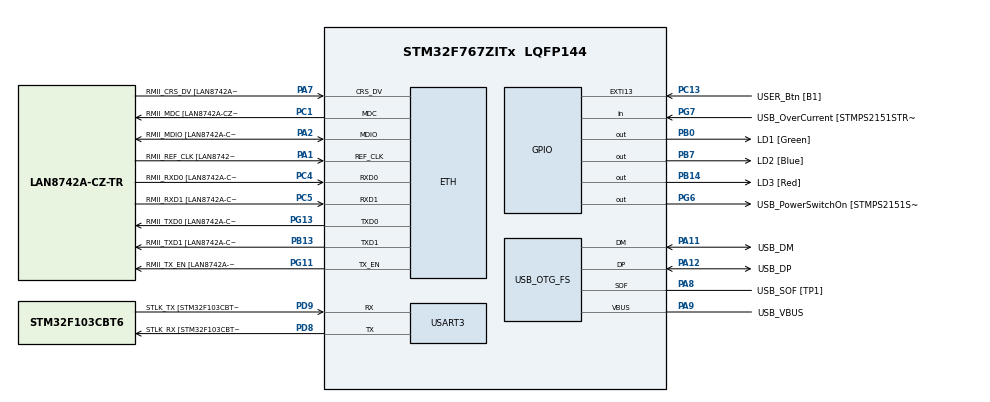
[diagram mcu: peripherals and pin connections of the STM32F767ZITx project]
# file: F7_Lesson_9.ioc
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ETH.MediaInterface=HAL_ETH_RMII_MODE
ETH.PHY_Name=LAN8742A_PHY_ADDRESS
ETH.PHY_Value=0
ETH.PhyAddress=0
Mcu.Family=STM32F7
Mcu.Name=STM32F767ZITx
Mcu.Package=LQFP144
NVIC.PriorityGroup=NVIC_PRIORITYGROUP_4
PA1.GPIO_Label=RMII_REF_CLK [LAN8742A-CZ-TR_REFCLK0]
PA1.Mode=RMII
PA1.Signal=ETH_REF_CLK
PA10.GPIO_Label=USB_ID
PA10.Signal=USB_OTG_FS_ID
PA11.GPIO_Label=USB_DM
PA11.Mode=Device_Only
PA11.Signal=USB_OTG_FS_DM
PA12.GPIO_Label=USB_DP
PA12.Mode=Device_Only
PA12.Signal=USB_OTG_FS_DP
PA13.GPIO_Label=TMS
PA13.Mode=Serial_Wire
PA13.Signal=SYS_JTMS-SWDIO
PA14.GPIO_Label=TCK
PA14.Mode=Serial_Wire
PA14.Signal=SYS_JTCK-SWCLK
PA2.GPIO_Label=RMII_MDIO [LAN8742A-CZ-TR_MDIO]
PA2.Mode=RMII
PA2.Signal=ETH_MDIO
PA7.GPIO_Label=RMII_CRS_DV [LAN8742A-CZ-TR_CRS_DV]
PA7.Mode=RMII
PA7.Signal=ETH_CRS_DV
PA8.GPIO_Label=USB_SOF [TP1]
PA8.Mode=Activate_SOF_FS
PA8.Signal=USB_OTG_FS_SOF
PA9.GPIO_Label=USB_VBUS
PA9.Mode=Activate_VBUS
PA9.Signal=USB_OTG_FS_VBUS
PB0.GPIO_Label=LD1 [Green]
PB0.Signal=GPIO_Output
PB13.GPIO_Label=RMII_TXD1 [LAN8742A-CZ-TR_TXD1]
PB13.Mode=RMII
PB13.Signal=ETH_TXD1
PB14.GPIO_Label=LD3 [Red]
PB14.Signal=GPIO_Output
PB3.GPIO_Label=SWO
PB3.Signal=SYS_JTDO-SWO
PB7.GPIO_Label=LD2 [Blue]
PB7.Signal=GPIO_Output
PC1.GPIO_Label=RMII_MDC [LAN8742A-CZ-TR_MDC]
PC1.Mode=RMII
PC1.Signal=ETH_MDC
PC13.GPIO_Label=USER_Btn [B1]
PC13.Signal=GPXTI13
PC14/OSC32_IN.Mode=LSE-External-Oscillator
PC14/OSC32_IN.Signal=RCC_OSC32_IN
PC15/OSC32_OUT.Mode=LSE-External-Oscillator
PC15/OSC32_OUT.Signal=RCC_OSC32_OUT
PC4.GPIO_Label=RMII_RXD0 [LAN8742A-CZ-TR_RXD0]
PC4.Mode=RMII
PC4.Signal=ETH_RXD0
PC5.GPIO_Label=RMII_RXD1 [LAN8742A-CZ-TR_RXD1]
PC5.Mode=RMII
PC5.Signal=ETH_RXD1
PD8.GPIO_Label=STLK_RX [STM32F103CBT6_PA3]
PD8.Mode=Asynchronous
PD8.Signal=USART3_TX
PD9.GPIO_Label=STLK_TX [STM32F103CBT6_PA2]
PD9.Mode=Asynchronous
PD9.Signal=USART3_RX
PG11.GPIO_Label=RMII_TX_EN [LAN8742A-CZ-TR_TXEN]
PG11.Mode=RMII
PG11.Signal=ETH_TX_EN
PG13.GPIO_Label=RMII_TXD0 [LAN8742A-CZ-TR_TXD0]
PG13.Mode=RMII
PG13.Signal=ETH_TXD0
PG6.GPIO_Label=USB_PowerSwitchOn [STMPS2151STR_EN]
PG6.Signal=GPIO_Output
PG7.GPIO_Label=USB_OverCurrent [STMPS2151STR_FAULT]
PG7.Signal=GPIO_Input
PH0/OSC_IN.GPIO_Label=MCO [STM32F103CBT6_PA8]
PH0/OSC_IN.Mode=HSE-External-Clock-Source
PH0/OSC_IN.Signal=RCC_OSC_IN
PH1/OSC_OUT.Mode=HSE-External-Clock-Source
PH1/OSC_OUT.Signal=RCC_OSC_OUT
ProjectManager.HeapSize=0x200
ProjectManager.StackSize=0x400
ProjectManager.TargetToolchain=STM32CubeIDE
RCC.48MHZClocksFreq_Value=24000000
RCC.AHBFreq_Value=96000000
RCC.APB1CLKDivider=RCC_HCLK_DIV2
RCC.APB1Freq_Value=48000000
RCC.APB1TimFreq_Value=96000000
RCC.APB2Freq_Value=96000000
RCC.APB2TimFreq_Value=96000000
RCC.CortexFreq_Value=96000000
RCC.HCLKFreq_Value=96000000
RCC.HSE_VALUE=8000000
RCC.HSI_VALUE=16000000
RCC.PLLM=4
RCC.PLLMUL=RCC_PLL_MUL9
RCC.PLLN=96
RCC.PLLQ=4
RCC.PRESCALERUSB=RCC_USBCLKSOURCE_PLL_DIV1_5
RCC.SYSCLKFreq_VALUE=96000000
RCC.SYSCLKSource=RCC_SYSCLKSOURCE_PLLCLK
RCC.SYSCLKSourceVirtual=RCC_SYSCLKSOURCE_PLLCLK
RCC.USBFreq_Value=48000000
RCC.VCOOutputFreq_Value=192000000
USART3.VirtualMode-Asynchronous=VM_ASYNC
USB_OTG_FS.VirtualMode=Device_Only
board=NUCLEO-F767ZI

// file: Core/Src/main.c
/* USER CODE BEGIN Header */
/**
  ******************************************************************************
  * @file           : main.c
  * @brief          : Main program body
  ******************************************************************************
  * @attention
  *
  * Copyright (c) 2025 STMicroelectronics.
  * All rights reserved.
  *
  * This software is licensed under terms that can be found in the LICENSE file
  * in the root directory of this software component.
  * If no LICENSE file comes with this software, it is provided AS-IS.
  *
  ******************************************************************************
  */
/* USER CODE END Header */
#include "main.h"
#include "string.h"

/* USER CODE BEGIN Includes */

#include "delay.h"

/* USER CODE END Includes */

/* USER CODE BEGIN PD */

#define MY_GPIOB_BASE 0x40020400U
#define MY_GPIOB_ODR (*((unsigned int*)(MY_GPIOB_BASE + 0x14U)))
#define MY_GPIOB_BSRR (*((unsigned int*)(MY_GPIOB_BASE + 0x18U)))
#define MY_LED_BLUE (1U << 7)
#define MY_LED_RED (1U << 14)

/* USER CODE END PD */

#if defined ( __ICCARM__ ) /*!< IAR Compiler */
#pragma location=0x2007c000
ETH_DMADescTypeDef  DMARxDscrTab[ETH_RX_DESC_CNT]; /* Ethernet Rx DMA Descriptors */
#pragma location=0x2007c0a0
ETH_DMADescTypeDef  DMATxDscrTab[ETH_TX_DESC_CNT]; /* Ethernet Tx DMA Descriptors */

#elif defined ( __CC_ARM )  /* MDK ARM Compiler */

__attribute__((at(0x2007c000))) ETH_DMADescTypeDef  DMARxDscrTab[ETH_RX_DESC_CNT]; /* Ethernet Rx DMA Descriptors */
__attribute__((at(0x2007c0a0))) ETH_DMADescTypeDef  DMATxDscrTab[ETH_TX_DESC_CNT]; /* Ethernet Tx DMA Descriptors */

#elif defined ( __GNUC__ ) /* GNU Compiler */

ETH_DMADescTypeDef DMARxDscrTab[ETH_RX_DESC_CNT] __attribute__((section(".RxDecripSection"))); /* Ethernet Rx DMA Descriptors */
ETH_DMADescTypeDef DMATxDscrTab[ETH_TX_DESC_CNT] __attribute__((section(".TxDecripSection")));   /* Ethernet Tx DMA Descriptors */
#endif

ETH_TxPacketConfig TxConfig;

ETH_HandleTypeDef heth;

PCD_HandleTypeDef hpcd_USB_OTG_FS;

void SystemClock_Config(void);
static void MX_GPIO_Init(void);
static void MX_ETH_Init(void);
static void MX_USART3_UART_Init(void);
static void MX_USB_OTG_FS_PCD_Init(void);
/* USER CODE BEGIN PFP */

unsigned fact(unsigned n);

/* USER CODE END PFP */

int main(void)
{

  /* MCU Configuration--------------------------------------------------------*/

  /* Reset of all peripherals, Initializes the Flash interface and the Systick. */
  HAL_Init();

  /* Configure the system clock */
  SystemClock_Config();

  /* Initialize all configured peripherals */
  MX_GPIO_Init();
  MX_ETH_Init();
  MX_USART3_UART_Init();
  MX_USB_OTG_FS_PCD_Init();

  /* Infinite loop */
  /* USER CODE BEGIN WHILE */

  unsigned volatile x;

  x = fact(0U);
  x = 2U + 3U * fact(1U);
  (void)fact(5U); // don't care the return value

  MY_GPIOB_ODR |= MY_LED_BLUE; // Turn the blue led on

  while (1) {

      MY_GPIOB_ODR |= MY_LED_RED; // Turn the red led on

      delay(1000000);

      MY_GPIOB_ODR &= ~MY_LED_RED; // Turn the red led off

      delay(500000);
  }

  while (1)
  {
    /* USER CODE END WHILE */

  }
}

void SystemClock_Config(void)
{
  LL_FLASH_SetLatency(LL_FLASH_LATENCY_3);
  while(LL_FLASH_GetLatency()!= LL_FLASH_LATENCY_3)
  {
  }
  LL_PWR_SetRegulVoltageScaling(LL_PWR_REGU_VOLTAGE_SCALE3);
  LL_PWR_EnableOverDriveMode();
  LL_RCC_HSE_EnableBypass();
  LL_RCC_HSE_Enable();

   /* Wait till HSE is ready */
  while(LL_RCC_HSE_IsReady() != 1)
  {

  }
  LL_RCC_PLL_ConfigDomain_SYS(LL_RCC_PLLSOURCE_HSE, LL_RCC_PLLM_DIV_4, 96, LL_RCC_PLLP_DIV_2);
  LL_RCC_PLL_ConfigDomain_48M(LL_RCC_PLLSOURCE_HSE, LL_RCC_PLLM_DIV_4, 96, LL_RCC_PLLQ_DIV_4);
  LL_RCC_PLL_Enable();

   /* Wait till PLL is ready */
  while(LL_RCC_PLL_IsReady() != 1)
  {

  }
  while (LL_PWR_IsActiveFlag_VOS() == 0)
  {
  }
  LL_RCC_SetAHBPrescaler(LL_RCC_SYSCLK_DIV_1);
  LL_RCC_SetAPB1Prescaler(LL_RCC_APB1_DIV_2);
  LL_RCC_SetAPB2Prescaler(LL_RCC_APB2_DIV_1);
  LL_RCC_SetSysClkSource(LL_RCC_SYS_CLKSOURCE_PLL);

   /* Wait till System clock is ready */
  while(LL_RCC_GetSysClkSource() != LL_RCC_SYS_CLKSOURCE_STATUS_PLL)
  {

  }
  LL_SetSystemCoreClock(96000000);

   /* Update the time base */
  if (HAL_InitTick (TICK_INT_PRIORITY) != HAL_OK)
  {
    Error_Handler();
  }

   /* Set Timers Clock Prescalers */
  LL_RCC_SetTIMPrescaler(LL_RCC_TIM_PRESCALER_TWICE);
}

static void MX_ETH_Init(void)
{

   static uint8_t MACAddr[6];

  heth.Instance = ETH;
  MACAddr[0] = 0x00;
  MACAddr[1] = 0x80;
  MACAddr[2] = 0xE1;
  MACAddr[3] = 0x00;
  MACAddr[4] = 0x00;
  MACAddr[5] = 0x00;
  heth.Init.MACAddr = &MACAddr[0];
  heth.Init.MediaInterface = HAL_ETH_RMII_MODE;
  heth.Init.TxDesc = DMATxDscrTab;
  heth.Init.RxDesc = DMARxDscrTab;
  heth.Init.RxBuffLen = 1524;

  if (HAL_ETH_Init(&heth) != HAL_OK)
  {
    Error_Handler();
  }

  memset(&TxConfig, 0 , sizeof(ETH_TxPacketConfig));
  TxConfig.Attributes = ETH_TX_PACKETS_FEATURES_CSUM | ETH_TX_PACKETS_FEATURES_CRCPAD;
  TxConfig.ChecksumCtrl = ETH_CHECKSUM_IPHDR_PAYLOAD_INSERT_PHDR_CALC;
  TxConfig.CRCPadCtrl = ETH_CRC_PAD_INSERT;

}

static void MX_USART3_UART_Init(void)
{

  LL_USART_InitTypeDef USART_InitStruct = {0};

  LL_GPIO_InitTypeDef GPIO_InitStruct = {0};

  LL_RCC_SetUSARTClockSource(LL_RCC_USART3_CLKSOURCE_PCLK1);

  /* Peripheral clock enable */
  LL_APB1_GRP1_EnableClock(LL_APB1_GRP1_PERIPH_USART3);

  LL_AHB1_GRP1_EnableClock(LL_AHB1_GRP1_PERIPH_GPIOD);
  /**USART3 GPIO Configuration
  PD8   ------> USART3_TX
  PD9   ------> USART3_RX
  */
  GPIO_InitStruct.Pin = STLK_RX_Pin;
  GPIO_InitStruct.Mode = LL_GPIO_MODE_ALTERNATE;
  GPIO_InitStruct.Speed = LL_GPIO_SPEED_FREQ_VERY_HIGH;
  GPIO_InitStruct.OutputType = LL_GPIO_OUTPUT_PUSHPULL;
  GPIO_InitStruct.Pull = LL_GPIO_PULL_NO;
  GPIO_InitStruct.Alternate = LL_GPIO_AF_7;
  LL_GPIO_Init(STLK_RX_GPIO_Port, &GPIO_InitStruct);

  GPIO_InitStruct.Pin = STLK_TX_Pin;
  GPIO_InitStruct.Mode = LL_GPIO_MODE_ALTERNATE;
  GPIO_InitStruct.Speed = LL_GPIO_SPEED_FREQ_VERY_HIGH;
  GPIO_InitStruct.OutputType = LL_GPIO_OUTPUT_PUSHPULL;
  GPIO_InitStruct.Pull = LL_GPIO_PULL_NO;
  GPIO_InitStruct.Alternate = LL_GPIO_AF_7;
  LL_GPIO_Init(STLK_TX_GPIO_Port, &GPIO_InitStruct);

  USART_InitStruct.BaudRate = 115200;
  USART_InitStruct.DataWidth = LL_USART_DATAWIDTH_8B;
  USART_InitStruct.StopBits = LL_USART_STOPBITS_1;
  USART_InitStruct.Parity = LL_USART_PARITY_NONE;
  USART_InitStruct.TransferDirection = LL_USART_DIRECTION_TX_RX;
  USART_InitStruct.HardwareFlowControl = LL_USART_HWCONTROL_NONE;
  USART_InitStruct.OverSampling = LL_USART_OVERSAMPLING_16;
  LL_USART_Init(USART3, &USART_InitStruct);
  LL_USART_ConfigAsyncMode(USART3);
  LL_USART_Enable(USART3);

}

static void MX_USB_OTG_FS_PCD_Init(void)
{

  hpcd_USB_OTG_FS.Instance = USB_OTG_FS;
  hpcd_USB_OTG_FS.Init.dev_endpoints = 6;
  hpcd_USB_OTG_FS.Init.speed = PCD_SPEED_FULL;
  hpcd_USB_OTG_FS.Init.dma_enable = DISABLE;
  hpcd_USB_OTG_FS.Init.phy_itface = PCD_PHY_EMBEDDED;
  hpcd_USB_OTG_FS.Init.Sof_enable = ENABLE;
  hpcd_USB_OTG_FS.Init.low_power_enable = DISABLE;
  hpcd_USB_OTG_FS.Init.lpm_enable = DISABLE;
  hpcd_USB_OTG_FS.Init.vbus_sensing_enable = ENABLE;
  hpcd_USB_OTG_FS.Init.use_dedicated_ep1 = DISABLE;
  if (HAL_PCD_Init(&hpcd_USB_OTG_FS) != HAL_OK)
  {
    Error_Handler();
  }

}

static void MX_GPIO_Init(void)
{
  LL_EXTI_InitTypeDef EXTI_InitStruct = {0};
  LL_GPIO_InitTypeDef GPIO_InitStruct = {0};

  /* GPIO Ports Clock Enable */
  LL_AHB1_GRP1_EnableClock(LL_AHB1_GRP1_PERIPH_GPIOC);
  LL_AHB1_GRP1_EnableClock(LL_AHB1_GRP1_PERIPH_GPIOH);
  LL_AHB1_GRP1_EnableClock(LL_AHB1_GRP1_PERIPH_GPIOA);
  LL_AHB1_GRP1_EnableClock(LL_AHB1_GRP1_PERIPH_GPIOB);
  LL_AHB1_GRP1_EnableClock(LL_AHB1_GRP1_PERIPH_GPIOD);
  LL_AHB1_GRP1_EnableClock(LL_AHB1_GRP1_PERIPH_GPIOG);

  /**/
  LL_GPIO_ResetOutputPin(LD1_GPIO_Port, LD1_Pin);

  /**/
  LL_GPIO_ResetOutputPin(LD3_GPIO_Port, LD3_Pin);

  /**/
  LL_GPIO_ResetOutputPin(USB_PowerSwitchOn_GPIO_Port, USB_PowerSwitchOn_Pin);

  /**/
  LL_GPIO_ResetOutputPin(LD2_GPIO_Port, LD2_Pin);

  /**/
  LL_SYSCFG_SetEXTISource(LL_SYSCFG_EXTI_PORTC, LL_SYSCFG_EXTI_LINE13);

  /**/
  EXTI_InitStruct.Line_0_31 = LL_EXTI_LINE_13;
  EXTI_InitStruct.LineCommand = ENABLE;
  EXTI_InitStruct.Mode = LL_EXTI_MODE_IT;
  EXTI_InitStruct.Trigger = LL_EXTI_TRIGGER_RISING;
  LL_EXTI_Init(&EXTI_InitStruct);

  /**/
  LL_GPIO_SetPinPull(USER_Btn_GPIO_Port, USER_Btn_Pin, LL_GPIO_PULL_NO);

  /**/
  LL_GPIO_SetPinMode(USER_Btn_GPIO_Port, USER_Btn_Pin, LL_GPIO_MODE_INPUT);

  /**/
  GPIO_InitStruct.Pin = LD1_Pin;
  GPIO_InitStruct.Mode = LL_GPIO_MODE_OUTPUT;
  GPIO_InitStruct.Speed = LL_GPIO_SPEED_FREQ_LOW;
  GPIO_InitStruct.OutputType = LL_GPIO_OUTPUT_PUSHPULL;
  GPIO_InitStruct.Pull = LL_GPIO_PULL_NO;
  LL_GPIO_Init(LD1_GPIO_Port, &GPIO_InitStruct);

  /**/
  GPIO_InitStruct.Pin = LD3_Pin;
  GPIO_InitStruct.Mode = LL_GPIO_MODE_OUTPUT;
  GPIO_InitStruct.Speed = LL_GPIO_SPEED_FREQ_LOW;
  GPIO_InitStruct.OutputType = LL_GPIO_OUTPUT_PUSHPULL;
  GPIO_InitStruct.Pull = LL_GPIO_PULL_NO;
  LL_GPIO_Init(LD3_GPIO_Port, &GPIO_InitStruct);

  /**/
  GPIO_InitStruct.Pin = USB_PowerSwitchOn_Pin;
  GPIO_InitStruct.Mode = LL_GPIO_MODE_OUTPUT;
  GPIO_InitStruct.Speed = LL_GPIO_SPEED_FREQ_LOW;
  GPIO_InitStruct.OutputType = LL_GPIO_OUTPUT_PUSHPULL;
  GPIO_InitStruct.Pull = LL_GPIO_PULL_NO;
  LL_GPIO_Init(USB_PowerSwitchOn_GPIO_Port, &GPIO_InitStruct);

  /**/
  GPIO_InitStruct.Pin = USB_OverCurrent_Pin;
  GPIO_InitStruct.Mode = LL_GPIO_MODE_INPUT;
  GPIO_InitStruct.Pull = LL_GPIO_PULL_NO;
  LL_GPIO_Init(USB_OverCurrent_GPIO_Port, &GPIO_InitStruct);

  /**/
  GPIO_InitStruct.Pin = LD2_Pin;
  GPIO_InitStruct.Mode = LL_GPIO_MODE_OUTPUT;
  GPIO_InitStruct.Speed = LL_GPIO_SPEED_FREQ_LOW;
  GPIO_InitStruct.OutputType = LL_GPIO_OUTPUT_PUSHPULL;
  GPIO_InitStruct.Pull = LL_GPIO_PULL_NO;
  LL_GPIO_Init(LD2_GPIO_Port, &GPIO_InitStruct);

}

/* USER CODE BEGIN 4 */

/*
 * Procedure Call Standard for Arm Architecture (AAPCS)
 *
 * https://developer.arm.com/documentation/107656/0101/Getting-started-with-Armv8-M-based-systems/Procedure-Call-Standard-for-Arm-Architecture--AAPCS-?lang=en
 */

unsigned fact(unsigned n){
    // 0! = 1
    // n! = n*(n-1)! for n > 0

    /*
     * Never use recursion or deep call sequences because they use a lot RAM for the stack.
     * Use a iteration version or a lookup table.
     */

    if (n == 0U) {
        return 1U;
    } else {
        return n * fact(n - 1);
    }
}

/* USER CODE END 4 */

void Error_Handler(void)
{
  __disable_irq();
  while (1)
  {
  }
}
